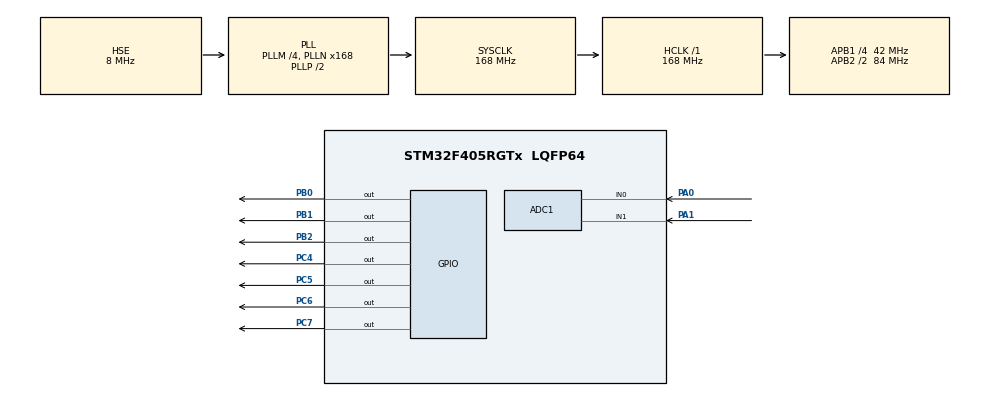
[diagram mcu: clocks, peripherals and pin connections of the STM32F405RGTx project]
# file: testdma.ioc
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Mcu.Family=STM32F4
RCC.PLLSourceVirtual=RCC_PLLSOURCE_HSE
PH0-OSC_IN.Signal=RCC_OSC_IN
Dma.ADC1.0.Instance=DMA2_Stream0
RCC.CortexFreq_Value=168000000
ADC1.Rank-0\#ChannelRegularConversion=1
ADC1.ContinuousConvMode=ENABLE
PC4.Signal=GPIO_Output
PC6.Signal=GPIO_Output
RCC.APB1CLKDivider=RCC_HCLK_DIV4
RCC.SYSCLKSource=RCC_SYSCLKSOURCE_PLLCLK
ProjectManager.StackSize=0x400
PA0-WKUP.Signal=ADCx_IN0
PA13.Signal=SYS_JTMS-SWDIO
Dma.ADC1.0.PeriphDataAlignment=DMA_PDATAALIGN_HALFWORD
ProjectManager.TargetToolchain=EWARM V8.32
Dma.ADC1.0.Mode=DMA_CIRCULAR
RCC.HCLKFreq_Value=168000000
Dma.ADC1.0.Priority=DMA_PRIORITY_LOW
RCC.APB2TimFreq_Value=168000000
ADC1.Channel-1\#ChannelRegularConversion=ADC_CHANNEL_1
Dma.ADC1.0.Direction=DMA_PERIPH_TO_MEMORY
ADC1.InjNumberOfConversion=0
PC7.Signal=GPIO_Output
NVIC.DMA2_Stream0_IRQn=true\:0\:0\:false\:false\:true\:false\:true
RCC.LSE_VALUE=32768
Dma.ADC1.0.MemDataAlignment=DMA_MDATAALIGN_HALFWORD
PA1.Signal=ADCx_IN1
RCC.AHBFreq_Value=168000000
PH0-OSC_IN.Mode=HSE-External-Oscillator
ADC1.Channel-0\#ChannelRegularConversion=ADC_CHANNEL_0
RCC.HSE_VALUE=8000000
PB2.Signal=GPIO_Output
ADC1.ScanConvMode=ENABLE
board=custom
RCC.VCOOutputFreq_Value=336000000
RCC.APB2Freq_Value=84000000
PA14.Mode=Serial_Wire
Dma.ADC1.0.PeriphInc=DMA_PINC_DISABLE
PH1-OSC_OUT.Signal=RCC_OSC_OUT
SH.ADCx_IN0.0=ADC1_IN0,IN0
ADC1.DMAContinuousRequests=ENABLE
ADC1.NbrOfConversion=2
PA13.Mode=Serial_Wire
Mcu.Name=STM32F405RGTx
ADC1.SamplingTime-0\#ChannelRegularConversion=ADC_SAMPLETIME_56CYCLES
PH1-OSC_OUT.Mode=HSE-External-Oscillator
RCC.48MHZClocksFreq_Value=84000000
ADC1.SamplingTime-1\#ChannelRegularConversion=ADC_SAMPLETIME_56CYCLES
RCC.SYSCLKFreq_VALUE=168000000
Mcu.Package=LQFP64
PB1.Signal=GPIO_Output
ADC1.master=1
ADC1.Rank-1\#ChannelRegularConversion=2
PA14.Signal=SYS_JTCK-SWCLK
Dma.ADC1.0.MemInc=DMA_MINC_ENABLE
ProjectManager.HeapSize=0x200
RCC.HSI_VALUE=16000000
NVIC.PriorityGroup=NVIC_PRIORITYGROUP_4
ADC1.NbrOfConversionFlag=1
RCC.APB2CLKDivider=RCC_HCLK_DIV2
SH.ADCx_IN1.0=ADC1_IN1,IN1
RCC.PLLM=4
RCC.PLLN=168
RCC.APB1TimFreq_Value=84000000
Dma.ADC1.0.FIFOMode=DMA_FIFOMODE_DISABLE
PC5.Signal=GPIO_Output
Dma.Request0=ADC1
RCC.APB1Freq_Value=42000000
PB0.Signal=GPIO_Output

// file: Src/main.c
/* USER CODE BEGIN Header */
/**
  ******************************************************************************
  * @file           : main.c
  * @brief          : Main program body
  ******************************************************************************
  * @attention
  *
  * <h2><center>&copy; Copyright (c) 2020 STMicroelectronics.
  * All rights reserved.</center></h2>
  *
  * This software component is licensed by ST under BSD 3-Clause license,
  * the "License"; You may not use this file except in compliance with the
  * License. You may obtain a copy of the License at:
  *                        opensource.org/licenses/BSD-3-Clause
  *
  ******************************************************************************
  */
/* USER CODE END Header */

#include "main.h"
#include "adc.h"
#include "dma.h"
#include "gpio.h"

/* USER CODE BEGIN Includes */
#include "stdio.h"
#include "lcd.h"
/* USER CODE END Includes */

void SystemClock_Config(void);

int main(void)
{
  /* USER CODE BEGIN 1 */
  uint16_t adData[2];
  char Cds_str[20];
  float v_temp;
  char V_str[20];
  /* USER CODE END 1 */

  /* MCU Configuration--------------------------------------------------------*/

  /* Reset of all peripherals, Initializes the Flash interface and the Systick. */
  HAL_Init();

  /* Configure the system clock */
  SystemClock_Config();

  /* Initialize all configured peripherals */
  MX_GPIO_Init();
  MX_DMA_Init();
  MX_ADC1_Init();
  /* USER CODE BEGIN 2 */
  lcdInit();
  HAL_ADC_Start_DMA(&hadc1, (uint32_t*)adData, sizeof(adData));
  /* USER CODE END 2 */

  /* Infinite loop */
  /* USER CODE BEGIN WHILE */
  while (1)
  {
    sprintf(V_str, "");
    v_temp = (float)adData[1] * 33 / 4095;
    lcdClear();
    lcdGotoXY(0, 0);
    sprintf(Cds_str, "Cds : %d", adData[0]);
    lcdPrint(Cds_str);

    lcdGotoXY(0, 1);
    sprintf(V_str, "V : %.1f", v_temp);
    //sprintf(V_str, "V : %d", adData[1]);
    lcdPrint(V_str);

    HAL_Delay(200);
    /* USER CODE END WHILE */

  }
}

void SystemClock_Config(void)
{
  RCC_OscInitTypeDef RCC_OscInitStruct = {0};
  RCC_ClkInitTypeDef RCC_ClkInitStruct = {0};

  /** Configure the main internal regulator output voltage
  */
  __HAL_RCC_PWR_CLK_ENABLE();
  __HAL_PWR_VOLTAGESCALING_CONFIG(PWR_REGULATOR_VOLTAGE_SCALE1);
  /** Initializes the CPU, AHB and APB busses clocks
  */
  RCC_OscInitStruct.OscillatorType = RCC_OSCILLATORTYPE_HSE;
  RCC_OscInitStruct.HSEState = RCC_HSE_ON;
  RCC_OscInitStruct.PLL.PLLState = RCC_PLL_ON;
  RCC_OscInitStruct.PLL.PLLSource = RCC_PLLSOURCE_HSE;
  RCC_OscInitStruct.PLL.PLLM = 4;
  RCC_OscInitStruct.PLL.PLLN = 168;
  RCC_OscInitStruct.PLL.PLLP = RCC_PLLP_DIV2;
  RCC_OscInitStruct.PLL.PLLQ = 4;
  if (HAL_RCC_OscConfig(&RCC_OscInitStruct) != HAL_OK)
  {
    Error_Handler();
  }
  /** Initializes the CPU, AHB and APB busses clocks
  */
  RCC_ClkInitStruct.ClockType = RCC_CLOCKTYPE_HCLK|RCC_CLOCKTYPE_SYSCLK
                              |RCC_CLOCKTYPE_PCLK1|RCC_CLOCKTYPE_PCLK2;
  RCC_ClkInitStruct.SYSCLKSource = RCC_SYSCLKSOURCE_PLLCLK;
  RCC_ClkInitStruct.AHBCLKDivider = RCC_SYSCLK_DIV1;
  RCC_ClkInitStruct.APB1CLKDivider = RCC_HCLK_DIV4;
  RCC_ClkInitStruct.APB2CLKDivider = RCC_HCLK_DIV2;

  if (HAL_RCC_ClockConfig(&RCC_ClkInitStruct, FLASH_LATENCY_5) != HAL_OK)
  {
    Error_Handler();
  }
}

void Error_Handler(void)
{
}

/************************ (C) COPYRIGHT STMicroelectronics *****END OF FILE****/
